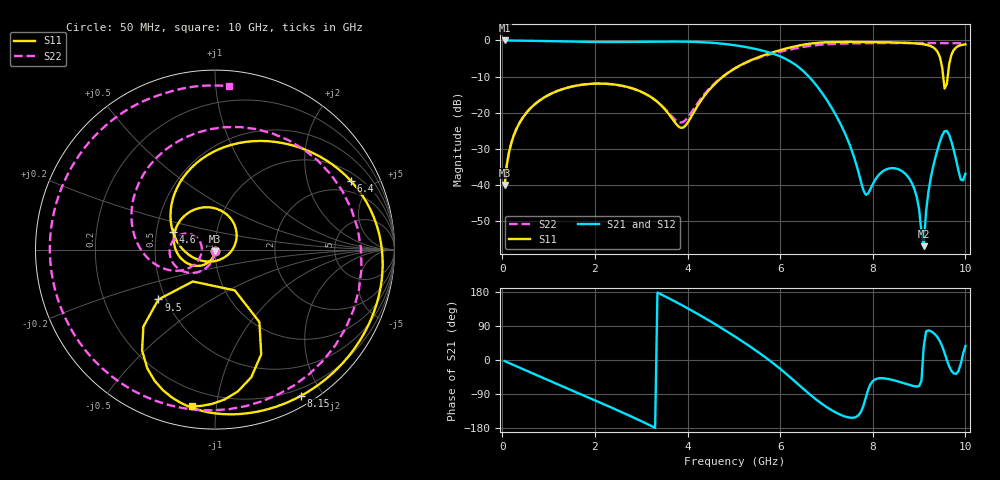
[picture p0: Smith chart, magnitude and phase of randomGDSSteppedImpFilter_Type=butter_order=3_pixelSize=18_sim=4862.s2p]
! freq	dB(S11)	phase(S11)	dB(S12)	phase(S12)
!  dB(S21)	phase(S21)	dB(S22)	phase(S22)
!S-par simulation data
#  GHz  S  DB  R 50
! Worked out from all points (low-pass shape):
!   200 points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, 50 MHz to 10 GHz, reference 50 ohm
!   highest |S21| = -0.01 dB at 50 MHz (marker M1); lowest = -56.8 dB at 9.1 GHz (marker M2)
!   |S21| within 3 dB of the highest: start of sweep to 5.676 GHz
!   lowest |S11| = -39.9 dB at 50 MHz (marker M3), VSWR 1.02, Z = 50 - j1.01 ohm
!   |S11| at or under -10 dB: start of sweep to 4.767 GHz; 9.521 GHz to 9.618 GHz (96.49 MHz wide, 1.01 % of centre)
!   |S22| runs from -39.9 to -0.7 dB; largest |S21 - S12| = 0
!   S11 on the Smith chart (normalised r, x): 50 MHz: 1.00, -0.02; 4.6 GHz: 0.61, +0.13; 6.4 GHz: 1.37, +3.75; 8.15 GHz: 0.11, -1.74; 9.5 GHz: 0.46, -0.31; 10 GHz: 0.11, -0.86
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0.05  -39.93 -91.7  -0.01 -2.7  -0.01 -2.7  -39.92 -90.7
0.2  -28.10 -103.3  -0.03 -10.9  -0.03 -10.9  -28.08 -98.6
0.5  -20.33 -123.0  -0.07 -27.0  -0.07 -27.0  -20.31 -111.7
1.75  -12.19 154.8  -0.38 -93.2  -0.38 -93.2  -12.19 -162.5
3.4  -17.55 26.0  -0.33 175.0  -0.33 175.0  -17.50 146.0
3.9  -24.10 -80.5  -0.33 143.3  -0.33 143.3  -22.54 -172.3
4.6  -11.88 157.1  -0.72 94.2  -0.72 94.2  -11.65 -153.3
5.05  -7.51 117.7  -1.38 59.9  -1.38 59.9  -7.52 178.3
5.95  -2.87 54.4  -4.14 -18.3  -4.14 -18.3  -3.29 85.3
6.4  -1.42 26.6  -7.39 -65.3  -7.39 -65.3  -2.02 16.6
6.7  -0.81 8.5  -11.13 -96.8  -11.13 -96.8  -1.42 -31.1
7.25  -0.44 -21.1  -21.74 -141.6  -21.74 -141.6  -0.91 -101.4
7.85  -0.44 -47.6  -42.62 -98.8  -42.62 -98.8  -0.76 -152.7
8.15  -0.49 -59.6  -36.86 -48.1  -36.86 -48.1  -0.73 -172.6
8.35  -0.54 -67.4  -35.36 -50.5  -35.36 -50.5  -0.72 175.3
8.85  -0.76 -87.6  -39.54 -67.7  -39.54 -67.7  -0.71 147.4
9.1  -1.07 -100.1  -56.82 33.8  -56.82 33.8  -0.71 134.0
9.2  -1.34 -106.4  -41.94 78.2  -41.94 78.2  -0.71 128.7
9.5  -7.53 -138.6  -26.16 36.0  -26.16 36.0  -0.75 112.7
9.55  -13.30 -124.8  -25.05 18.7  -25.05 18.7  -0.77 110.0
9.65  -6.50 -58.5  -26.10 -17.1  -26.10 -17.1  -0.77 104.8
10  -1.08 -98.2  -36.81 36.7  -36.81 36.7  -0.79 85.3
